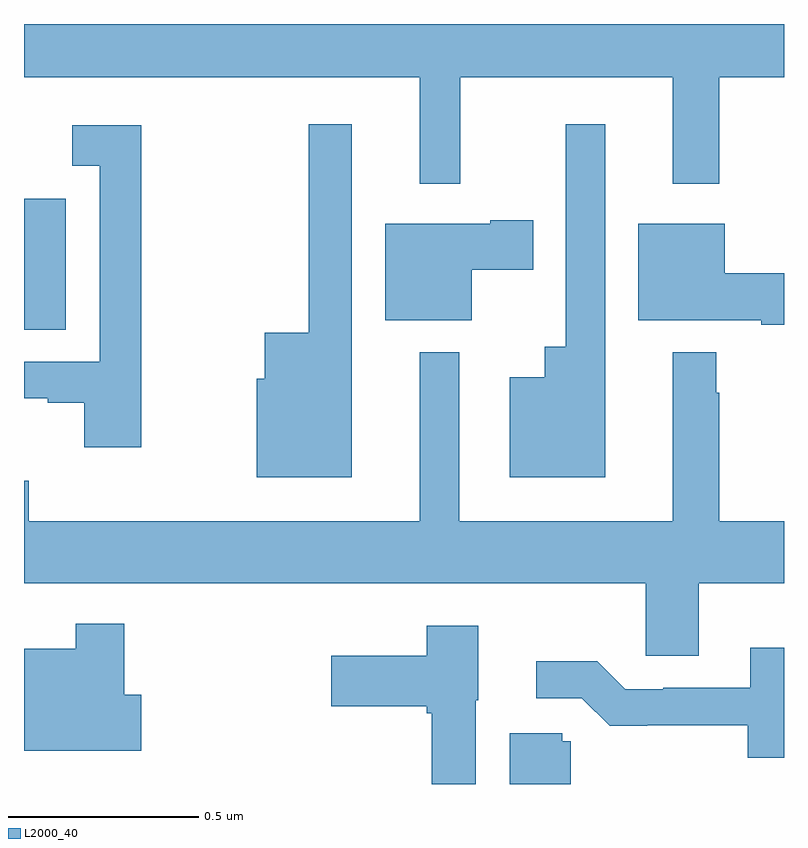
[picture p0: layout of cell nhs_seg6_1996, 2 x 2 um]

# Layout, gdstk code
import gdstk
lib = gdstk.Library(unit=1e-6, precision=1e-09)
def R(c, l, rs):  # rectangles x0, y0, x1, y1
    for r in rs: c.add(gdstk.rectangle(r[:2], r[2:], *l))
def P(c, l, *ps):  # polygons
    for p in ps: c.add(gdstk.Polygon(p, *l))
L2000_40 = (2000, 40)

nhs_seg6_1996 = lib.new_cell('nhs_seg6_1996')
R(nhs_seg6_1996, L2000_40, [(137,922.696,137.11,923.04)])
P(nhs_seg6_1996, L2000_40, [(138.148,923.36),(138.707,923.36),(138.707,923.079),(138.829,923.079),(138.829,923.36),(139,923.36),(139,923.5),(137,923.5),(137,923.36),(138.041,923.36),(138.041,923.079),(138.148,923.079)],
  [(138.529,923.236),(138.425,923.236),(138.425,922.651),(138.371,922.651),(138.371,922.57),(138.278,922.57),(138.278,922.307),(138.529,922.307)],
  [(137.863,923.236),(137.749,923.236),(137.749,922.687),(137.633,922.687),(137.633,922.566),(137.612,922.566),(137.612,922.307),(137.863,922.307)],
  [(137.308,923.233),(137.127,923.233),(137.127,923.127),(137.199,923.127),(137.199,922.611),(137,922.611),(137,922.515),(137.063,922.515),(137.063,922.503),(137.159,922.503),(137.159,922.386),(137.308,922.386)],
  [(138.178,922.853),(138.34,922.853),(138.34,922.983),(138.227,922.983),(138.227,922.975),(137.951,922.975),(137.951,922.721),(138.178,922.721)],
  [(139,922.844),(138.844,922.844),(138.844,922.975),(138.617,922.975),(138.617,922.721),(138.94,922.721),(138.94,922.708),(139,922.708)],
  [(138.775,922.028),(139,922.028),(139,922.192),(138.829,922.192),(138.829,922.529),(138.822,922.529),(138.822,922.636),(138.707,922.636),(138.707,922.192),(138.145,922.192),(138.145,922.636),(138.041,922.636),(138.041,922.192),(137.012,922.192),(137.012,922.298),(137,922.298),(137,922.028),(138.636,922.028),(138.636,921.838),(138.775,921.838)],
  [(137.308,921.735),(137.264,921.735),(137.264,921.922),(137.136,921.922),(137.136,921.856),(137,921.856),(137,921.587),(137.308,921.587)],
  [(138.189,921.72),(138.196,921.72),(138.196,921.916),(138.06,921.916),(138.06,921.838),(137.808,921.838),(137.808,921.704),(138.06,921.704),(138.06,921.686),(138.073,921.686),(138.073,921.5),(138.189,921.5)],
  [(139,921.859),(138.911,921.859),(138.911,921.753),(138.682,921.753),(138.682,921.75),(138.582,921.75),(138.509,921.823),(138.348,921.823),(138.348,921.726),(138.468,921.726),(138.541,921.653),(138.64,921.653),(138.64,921.654),(138.904,921.654),(138.904,921.569),(139,921.569)],
  [(138.439,921.612),(138.417,921.612),(138.417,921.633),(138.278,921.633),(138.278,921.5),(138.439,921.5)])

lib.write_gds('nhs_seg6_1996.gds')
